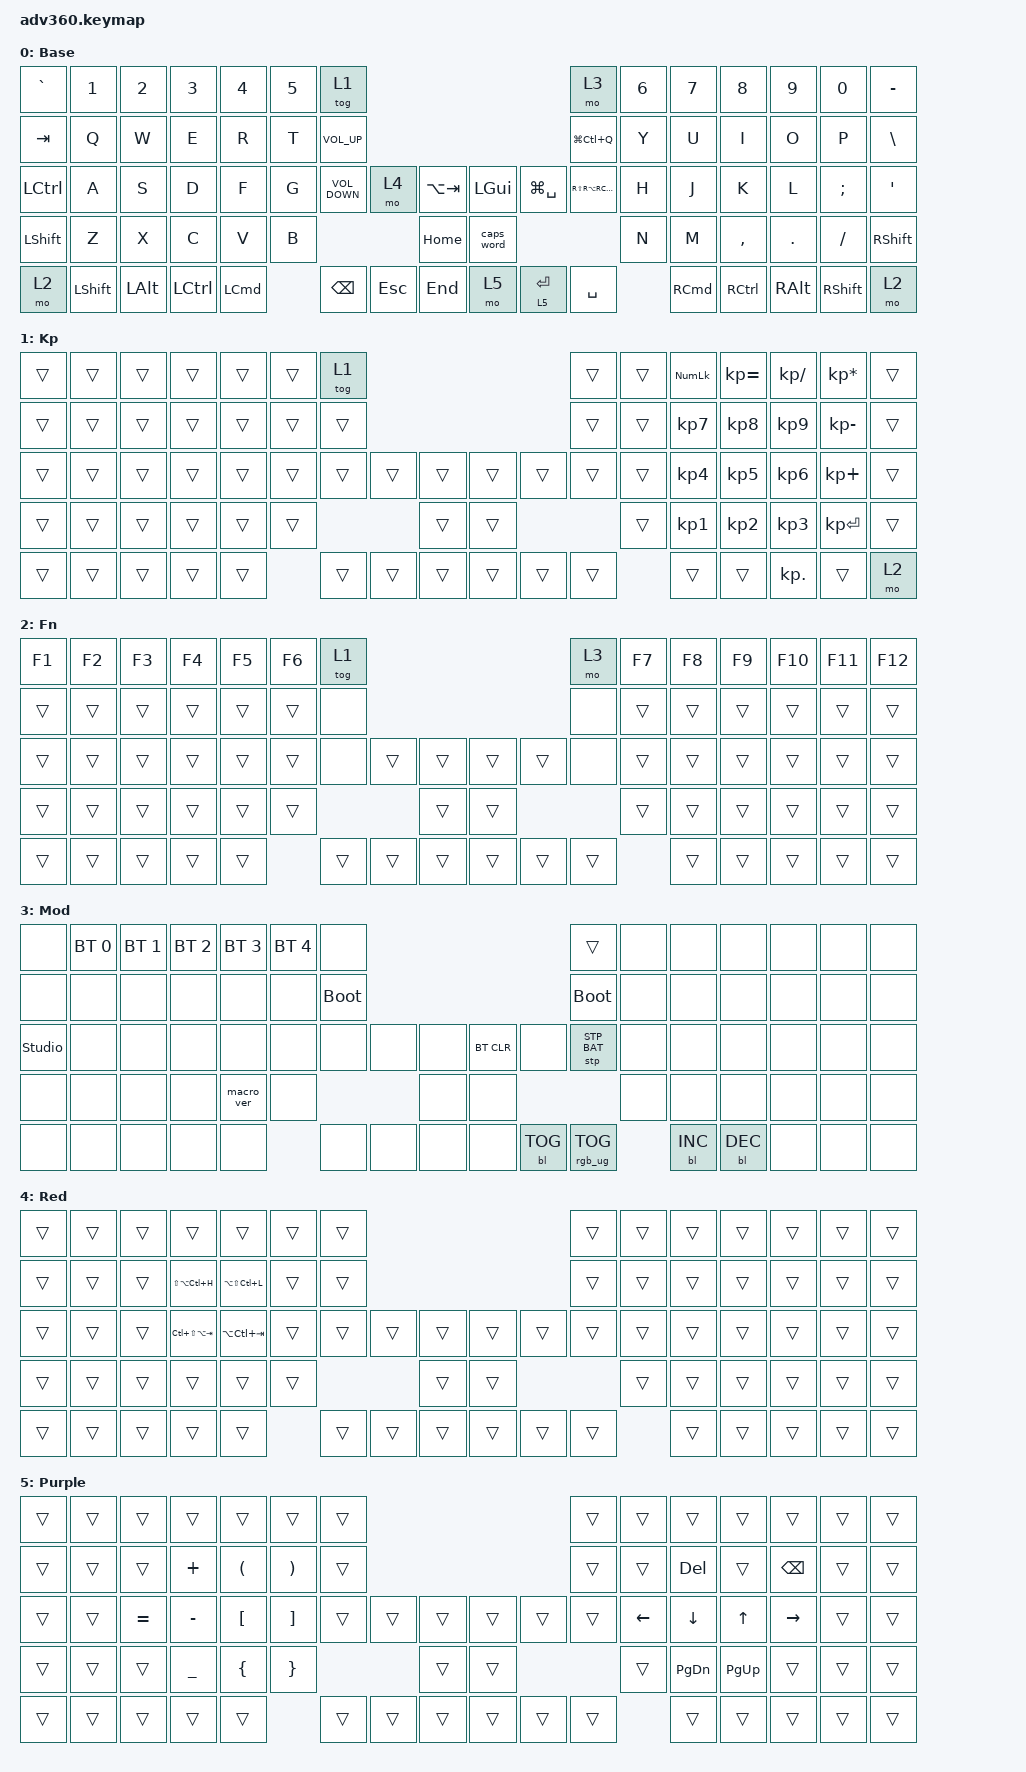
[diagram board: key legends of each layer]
#include <dt-bindings/zmk/stp.h>
#include <behaviors.dtsi>
#include <dt-bindings/zmk/backlight.h>
#include <dt-bindings/zmk/bt.h>
#include <dt-bindings/zmk/keys.h>
#include <dt-bindings/zmk/rgb.h>

&lt { flavor = "balanced"; };

/ {
    behaviors {
        #include "macros.dtsi"
      #include "version.dtsi"

        hm: homerow_mods {
            compatible = "zmk,behavior-hold-tap";
            label = "HOMEROW_MODS";
            #binding-cells = <2>;
            tapping-term-ms = <200>;
            quick_tap_ms = <175>;
            flavor = "tap-preferred";
            bindings = <&kp>, <&kp>;
        };

        td_backspace: td_backspace {
            compatible = "zmk,behavior-tap-dance";
            label = "TD_BACKSPACE";
            #binding-cells = <0>;
            bindings = <&kp BACKSPACE>, <&kp RA(BACKSPACE)>;
        };
    };

    keymap {
        compatible = "zmk,keymap";

        default_layer {
            display-name = "Base";
            bindings = <
&kp GRAVE  &kp N1          &kp N2        &kp N3     &kp N4            &kp N5  &tog 1                                                                  &mo 3                  &kp N6  &kp N7             &kp N8     &kp N9         &kp N0           &kp MINUS
&kp TAB    &kp Q           &kp W         &kp E      &kp R             &kp T   &kp C_VOLUME_UP                                                         &kp LG(LC(Q))          &kp Y   &kp U              &kp I      &kp O          &kp P            &kp BSLH
&kp LCTRL  &kp A           &kp S         &kp D      &kp F             &kp G   &kp C_VOLUME_DOWN  &mo 4    &kp LA(TAB)      &kp LGUI    &kp LG(SPACE)  &kp RS(RA(RC(RG(E))))  &kp H   &kp J              &kp K      &kp L          &kp SEMI         &kp SQT
&kp LSHFT  &kp Z           &kp X         &kp C      &kp V             &kp B                               &kp HOME         &caps_word                                        &kp N   &kp M              &kp COMMA  &kp DOT        &kp FSLH         &kp RSHFT
&mo 2      &kp LEFT_SHIFT  &kp LEFT_ALT  &kp LCTRL  &kp LEFT_COMMAND          &kp BACKSPACE      &kp ESC  &kp END          &mo 5       &lt 5 ENTER    &kp SPACE                      &kp RIGHT_COMMAND  &kp RCTRL  &kp RIGHT_ALT  &kp RIGHT_SHIFT  &mo 2
            >;
        };

        keypad {
            display-name = "Kp";
            bindings = <
&trans  &trans  &trans  &trans  &trans  &trans  &tog 1                                      &trans  &trans  &kp KP_NUM  &kp KP_EQUAL  &kp KP_DIVIDE  &kp KP_MULTIPLY  &trans
&trans  &trans  &trans  &trans  &trans  &trans  &trans                                      &trans  &trans  &kp KP_N7   &kp KP_N8     &kp KP_N9      &kp KP_MINUS     &trans
&trans  &trans  &trans  &trans  &trans  &trans  &trans  &trans  &trans      &trans  &trans  &trans  &trans  &kp KP_N4   &kp KP_N5     &kp KP_N6      &kp KP_PLUS      &trans
&trans  &trans  &trans  &trans  &trans  &trans                  &trans      &trans                  &trans  &kp KP_N1   &kp KP_N2     &kp KP_N3      &kp KP_ENTER     &trans
&trans  &trans  &trans  &trans  &trans          &trans  &trans  &trans      &trans  &trans  &trans          &trans      &trans        &kp KP_DOT     &trans           &mo 2
            >;
        };

        fn {
            display-name = "Fn";
            bindings = <
&kp F1  &kp F2  &kp F3  &kp F4  &kp F5  &kp F6  &tog 1                                      &mo 3   &kp F7  &kp F8  &kp F9  &kp F10  &kp F11  &kp F12
&trans  &trans  &trans  &trans  &trans  &trans  &none                                       &none   &trans  &trans  &trans  &trans   &trans   &trans
&trans  &trans  &trans  &trans  &trans  &trans  &none   &trans  &trans      &trans  &trans  &none   &trans  &trans  &trans  &trans   &trans   &trans
&trans  &trans  &trans  &trans  &trans  &trans                  &trans      &trans                  &trans  &trans  &trans  &trans   &trans   &trans
&trans  &trans  &trans  &trans  &trans          &trans  &trans  &trans      &trans  &trans  &trans          &trans  &trans  &trans   &trans   &trans
            >;
        };

        mod {
            display-name = "Mod";
            bindings = <
&none           &bt BT_SEL 0  &bt BT_SEL 1  &bt BT_SEL 2  &bt BT_SEL 3  &bt BT_SEL 4  &none                                                  &trans           &none  &none       &none       &none  &none  &none
&none           &none         &none         &none         &none         &none         &bootloader                                            &bootloader      &none  &none       &none       &none  &none  &none
&studio_unlock  &none         &none         &none         &none         &none         &none        &none  &none      &bt BT_CLR  &none       &stp STP_BAT     &none  &none       &none       &none  &none  &none
&none           &none         &none         &none         &macro_ver    &none                             &none      &none                                    &none  &none       &none       &none  &none  &none
&none           &none         &none         &none         &none                       &none        &none  &none      &none       &bl BL_TOG  &rgb_ug RGB_TOG         &bl BL_INC  &bl BL_DEC  &none  &none  &none
            >;
        };

        left {
            display-name = "Red";

            /* status = "reserved"; */

            bindings = <
&trans  &trans  &trans  &trans               &trans             &trans  &trans                                      &trans  &trans  &trans  &trans  &trans  &trans  &trans
&trans  &trans  &trans  &kp LS(LA(LC(H)))    &kp LA(LS(LC(L)))  &trans  &trans                                      &trans  &trans  &trans  &trans  &trans  &trans  &trans
&trans  &trans  &trans  &kp LC(LS(LA(TAB)))  &kp LA(LC(TAB))    &trans  &trans  &trans  &trans      &trans  &trans  &trans  &trans  &trans  &trans  &trans  &trans  &trans
&trans  &trans  &trans  &trans               &trans             &trans                  &trans      &trans                  &trans  &trans  &trans  &trans  &trans  &trans
&trans  &trans  &trans  &trans               &trans                     &trans  &trans  &trans      &trans  &trans  &trans          &trans  &trans  &trans  &trans  &trans
            >;
        };

        right {
            display-name = "Purple";

            /* status = "reserved"; */

            bindings = <
&trans  &trans  &trans     &trans          &trans                &trans                 &trans                                      &trans  &trans    &trans      &trans     &trans     &trans  &trans
&trans  &trans  &trans     &kp PLUS        &kp LEFT_PARENTHESIS  &kp RIGHT_PARENTHESIS  &trans                                      &trans  &trans    &kp DELETE  &trans     &kp BSPC   &trans  &trans
&trans  &trans  &kp EQUAL  &kp MINUS       &kp LEFT_BRACKET      &kp RIGHT_BRACKET      &trans  &trans  &trans      &trans  &trans  &trans  &kp LEFT  &kp DOWN    &kp UP     &kp RIGHT  &trans  &trans
&trans  &trans  &trans     &kp UNDERSCORE  &kp LEFT_BRACE        &kp RIGHT_BRACE                        &trans      &trans                  &trans    &kp PG_DN   &kp PG_UP  &trans     &trans  &trans
&trans  &trans  &trans     &trans          &trans                                       &trans  &trans  &trans      &trans  &trans  &trans            &trans      &trans     &trans     &trans  &trans
            >;
        };

        extra3 {
            display-name = "Cyan";
            status = "reserved";
        };

        extra4 {
            display-name = "Yellow";
            status = "reserved";
        };
    };
};
